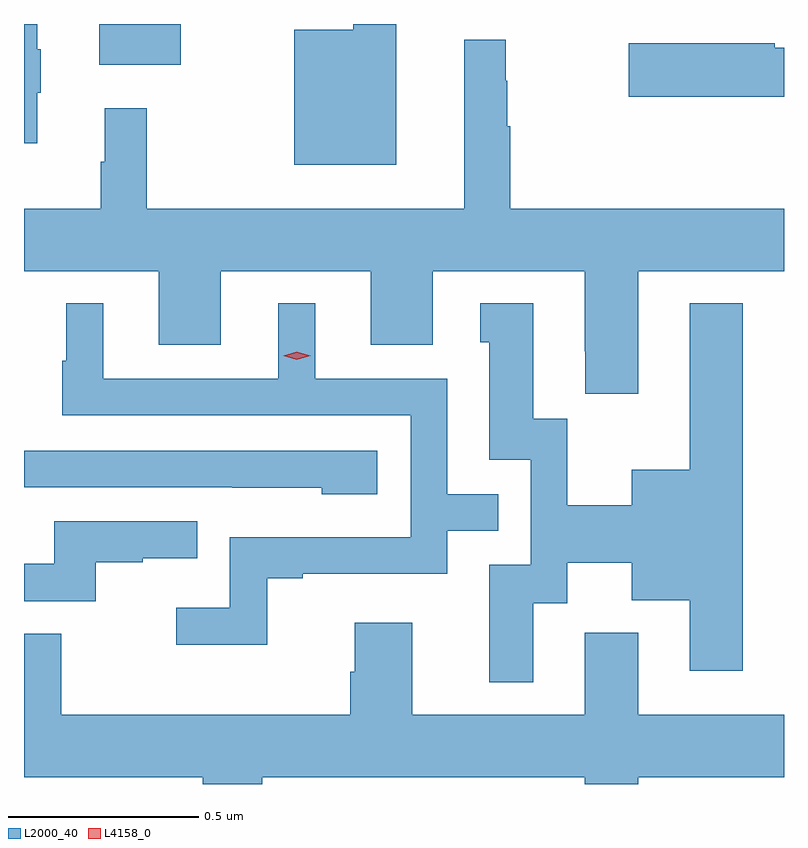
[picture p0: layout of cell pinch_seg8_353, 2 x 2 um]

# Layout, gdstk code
import gdstk
lib = gdstk.Library(unit=1e-6, precision=1e-09)
def R(c, l, rs):  # rectangles x0, y0, x1, y1
    for r in rs: c.add(gdstk.rectangle(r[:2], r[2:], *l))
def P(c, l, *ps):  # polygons
    for p in ps: c.add(gdstk.Polygon(p, *l))
L2000_40 = (2000, 40)
L4158_0 = (4158, 0)

pinch_seg8_353 = lib.new_cell('pinch_seg8_353')
R(pinch_seg8_353, L2000_40, [(456.761,1154.339,456.976,1154.446)])
P(pinch_seg8_353, L2000_40, [(456.598,1154.265),(456.607,1154.265),(456.607,1154.379),(456.598,1154.379),(456.598,1154.446),(456.563,1154.446),(456.563,1154.132),(456.598,1154.132)],
  [(457.543,1154.446),(457.429,1154.446),(457.429,1154.431),(457.274,1154.431),(457.274,1154.075),(457.543,1154.075)],
  [(458.179,1153.796),(458.563,1153.796),(458.563,1153.96),(457.843,1153.96),(457.843,1154.177),(457.835,1154.177),(457.835,1154.297),(457.831,1154.297),(457.831,1154.404),(457.721,1154.404),(457.721,1153.96),(456.886,1153.96),(456.886,1154.224),(456.776,1154.224),(456.776,1154.084),(456.765,1154.084),(456.765,1153.96),(456.563,1153.96),(456.563,1153.796),(456.917,1153.796),(456.917,1153.602),(457.081,1153.602),(457.081,1153.796),(457.475,1153.796),(457.475,1153.602),(457.639,1153.602),(457.639,1153.796),(458.039,1153.796),(458.039,1153.585),(458.04,1153.585),(458.04,1153.473),(458.179,1153.473)],
  [(458.563,1154.384),(458.538,1154.384),(458.538,1154.396),(458.154,1154.396),(458.154,1154.254),(458.563,1154.254)],
  [(457.203,1152.987),(457.297,1152.987),(457.297,1152.999),(457.677,1152.999),(457.677,1153.113),(457.811,1153.113),(457.811,1153.209),(457.677,1153.209),(457.677,1153.512),(457.33,1153.512),(457.33,1153.711),(457.232,1153.711),(457.232,1153.512),(456.772,1153.512),(456.772,1153.711),(456.674,1153.711),(456.674,1153.56),(456.663,1153.56),(456.663,1153.416),(457.581,1153.416),(457.581,1153.095),(457.104,1153.095),(457.104,1152.91),(456.963,1152.91),(456.963,1152.812),(457.203,1152.812)],
  [(457.903,1152.922),(457.993,1152.922),(457.993,1153.028),(458.162,1153.028),(458.162,1152.929),(458.315,1152.929),(458.315,1152.744),(458.455,1152.744),(458.455,1153.711),(458.315,1153.711),(458.315,1153.273),(458.162,1153.273),(458.162,1153.18),(457.992,1153.18),(457.992,1153.407),(457.903,1153.407),(457.903,1153.711),(457.763,1153.711),(457.763,1153.608),(457.787,1153.608),(457.787,1153.299),(457.896,1153.299),(457.896,1153.023),(457.787,1153.023),(457.787,1152.714),(457.903,1152.714)],
  [(457.492,1153.323),(456.563,1153.323),(456.563,1153.227),(457.111,1153.227),(457.111,1153.226),(457.347,1153.226),(457.347,1153.208),(457.492,1153.208)],
  [(456.752,1153.029),(456.875,1153.029),(456.875,1153.04),(457.019,1153.04),(457.019,1153.137),(456.642,1153.137),(456.642,1153.025),(456.563,1153.025),(456.563,1152.927),(456.752,1152.927)],
  [(458.039,1152.446),(458.179,1152.446),(458.179,1152.464),(458.563,1152.464),(458.563,1152.628),(458.179,1152.628),(458.179,1152.844),(458.039,1152.844),(458.039,1152.628),(457.585,1152.628),(457.585,1152.871),(457.433,1152.871),(457.433,1152.741),(457.421,1152.741),(457.421,1152.628),(456.661,1152.628),(456.661,1152.842),(456.563,1152.842),(456.563,1152.464),(457.033,1152.464),(457.033,1152.446),(457.19,1152.446),(457.19,1152.464),(458.039,1152.464)])
P(pinch_seg8_353, L4158_0, [(457.281,1153.563),(457.245,1153.573),(457.245,1153.573),(457.245,1153.573),(457.281,1153.583),(457.317,1153.573),(457.317,1153.573),(457.317,1153.573)])

lib.write_gds('pinch_seg8_353.gds')
